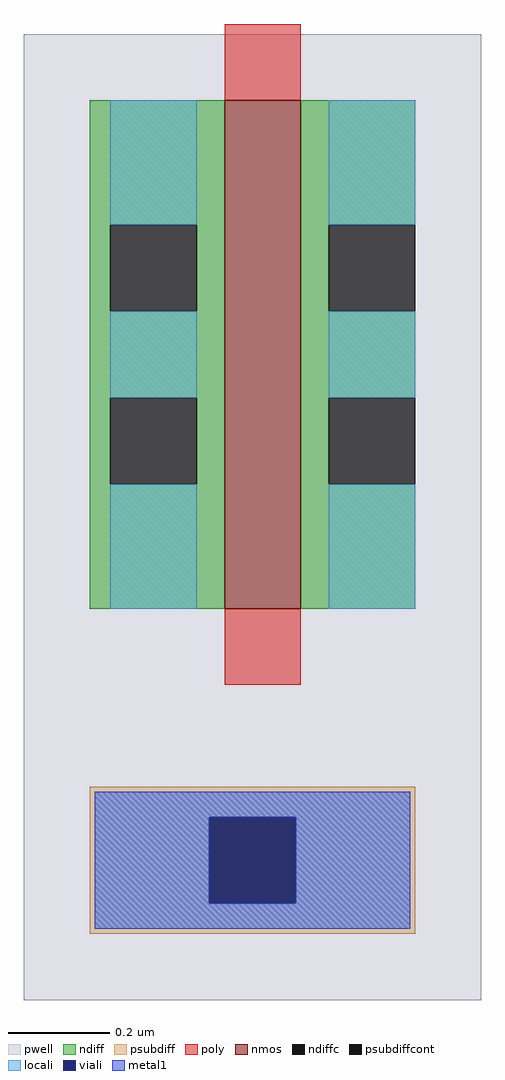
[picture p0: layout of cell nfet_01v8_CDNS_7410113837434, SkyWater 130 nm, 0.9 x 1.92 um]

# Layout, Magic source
magic
tech sky130A
magscale 1 2
<< pwell >>
rect -79 -154 101 226
<< nmos >>
rect 0 0 30 200
<< ndiff >>
rect -53 151 0 200
rect -53 117 -45 151
rect -11 117 0 151
rect -53 83 0 117
rect -53 49 -45 83
rect -11 49 0 83
rect -53 0 0 49
rect 30 151 75 200
rect 30 117 41 151
rect 30 83 75 117
rect 30 49 41 83
rect 30 0 75 49
<< ndiffc >>
rect -45 117 -11 151
rect -45 49 -11 83
rect 41 117 75 151
rect 41 49 75 83
<< psubdiff >>
rect -53 -82 75 -70
rect -53 -116 -6 -82
rect 28 -116 75 -82
rect -53 -128 75 -116
<< psubdiffcont >>
rect -6 -116 28 -82
<< poly >>
rect 0 200 30 230
rect 0 -30 30 0
<< locali >>
rect -45 151 -11 200
rect -45 83 -11 117
rect -45 0 -11 49
rect 41 151 75 200
rect 41 83 75 117
rect 41 0 75 49
rect -51 -82 73 -72
rect -51 -116 -6 -82
rect 28 -116 73 -82
rect -51 -126 73 -116
<< viali >>
rect -6 -116 28 -82
<< metal1 >>
rect -51 -82 73 -72
rect -51 -116 -6 -82
rect 28 -116 73 -82
rect -51 -126 73 -116
<< end >>
